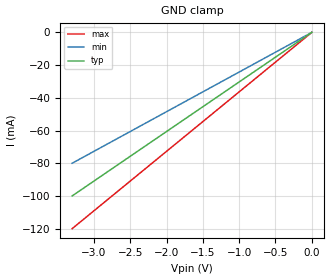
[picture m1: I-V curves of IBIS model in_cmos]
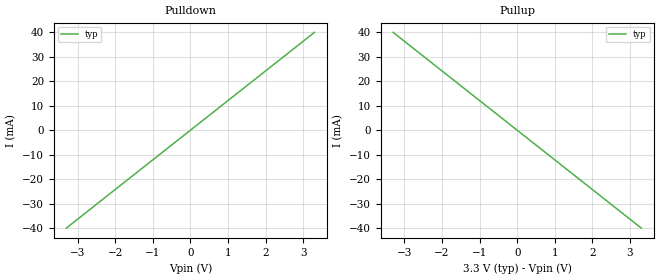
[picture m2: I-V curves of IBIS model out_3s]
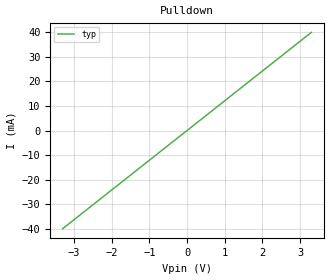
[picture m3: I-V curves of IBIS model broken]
| A hand-written IBIS file for the tests of ibis_part!. The values do not describe a real
| device.
[IBIS Ver]   5.0
[File Name]   ibis_part.ibs
[File Rev]   1.2
[Component]   Chip
[Manufacturer]  Example Corp.
[Package]
R_pkg   0.2   0.1   0.3
L_pkg   5nH   4nH   6nH
C_pkg   1.0pF   NA   NA
[Pin]  signal_name  model_name
1   RXP   in_cmos
2   RXN   in_cmos
3   TX   out_3s
4   IO   io_sel
5   VCC   POWER
6   BAD   broken
7   SA   in_cmos
8   SB   in_cmos
[Diff Pin]  inv_pin  vdiff  tdelay_typ  tdelay_min  tdelay_max
1   2   0.1V   NA   NA   NA
[Series Pin Mapping] pin_2 model_name
2 1 term
7 8 term
[Component]   Other
[Pin]  signal_name  model_name
1   A   in_cmos
[Model Selector] io_sel
out_3s   3-state output
in_cmos   CMOS input
[Model]   term
Model_type   Series
[R Series] 100 95 105
| Models and submodels in the file (4): in_cmos (Input), out_3s (3-state), broken (Output), term (Series)
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[Model]   in_cmos
Model_type   Input
Vinl = 0.8V
Vinh = 2.0V
C_comp   2.0pF   1.5pF   2.5pF
[Voltage Range]  3.3V  3.0V  3.6V
[GND Clamp]
-3.3V     -100mA     -80mA      -120mA
0V        0A         0A         0A
[Model]   out_3s
Model_type   3-state
C_comp   2p   1.5p   2.5p
[Voltage Range]  3.3V  3.0V  3.6V
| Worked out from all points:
|   slope of the pulldown table from 0 to 0.495 V, typ, clamps not added: 82.5 ohm
|   slope of the pullup table from 0 to 0.495 V, typ, clamps not added: 82.5 ohm
[Pulldown]
-3.3V     -40mA      NA         NA
0V        0A         NA         NA
3.3V      40mA       NA         NA
[Pullup]
-3.3V     40mA       NA         NA
0V        0A         NA         NA
3.3V      -40mA      NA         NA
[Ramp]
dV/dt_r   1.98/0.5n   1.8/0.6n   2.16/0.4n
dV/dt_f   1.98/0.4n   1.8/0.5n   2.16/0.3n
R_load = 50
| An output without [Pullup] cannot be simulated.
[Model]   broken
Model_type   Output
C_comp   2p   NA   NA
[Voltage Range]  3.3V  3.0V  3.6V
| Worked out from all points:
|   slope of the pulldown table from 0 to 0.495 V, typ, clamps not added: 82.5 ohm
[Pulldown]
-3.3V     -40mA      NA         NA
3.3V      40mA       NA         NA
[Ramp]
dV/dt_r   1.98/0.5n   NA   NA
dV/dt_f   1.98/0.4n   NA   NA
